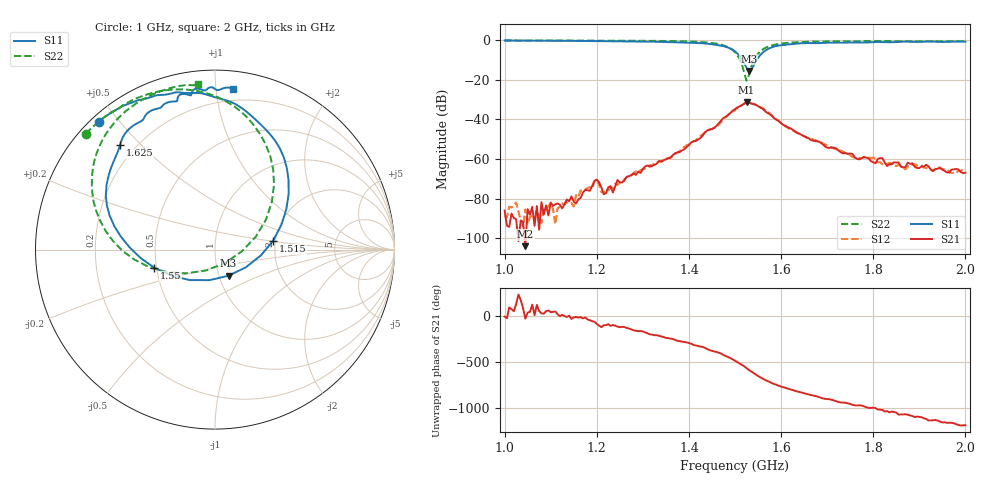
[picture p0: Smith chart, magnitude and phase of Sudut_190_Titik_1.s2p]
# Hz S RI R 50
! CMT, C1220, 16058040, 17.2.0/1
! Date: 14/08/2018 12:56:47
! Data: Format (Calibration Info)
! Freq  S11: Re/Im (F2)  S21: Re/Im (F2)  S12: Re/Im (F2)  S22: Re/Im (F2)
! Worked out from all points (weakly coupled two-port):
!   201 points, 1 GHz to 2 GHz, reference 50 ohm
!   highest |S21| = -31.51 dB at 1.525 GHz (marker M1); lowest = -103.9 dB at 1.045 GHz (marker M2)
!   lowest |S11| = -15.7 dB at 1.53 GHz (marker M3), VSWR 1.39, Z = 55.6 - j16.6 ohm
!   |S11| at or under -10 dB: 1.516 GHz to 1.547 GHz (31.81 MHz wide, 2.08 % of centre)
!   |S22| runs from -20.6 to -0.3 dB; largest |S21 - S12| = 0.0011
!   S11 on the Smith chart (normalised r, x): 1 GHz: 0.02, +0.44; 1.515 GHz: 1.94, +0.21; 1.55 GHz: 0.49, -0.11; 1.625 GHz: 0.14, +0.43; 2 GHz: 0.12, +1.11
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1e9  -0.6471 0.7131  4.97e-05 -9.83e-06  1.28e-05 3.41e-05  -0.7191 0.6457
1.045e9  -0.6054 0.7456  5.34e-06 -3.54e-06  4.33e-05 -3.22e-05  -0.6862 0.6782
1.15e9  -0.4809 0.8117  8.02e-05 -2.74e-05  5.61e-05 -3e-05  -0.5974 0.7518
1.17e9  -0.4581 0.8208  0.000124 -7.35e-05  0.000136 -8.38e-05  -0.5766 0.7656
1.2e9  -0.4136 0.8348  5.48e-06 -0.000305  -6.35e-06 -0.000307  -0.543 0.7776
1.21e9  -0.4001 0.8373  -0.000109 -0.000162  -7.2e-05 -0.000127  -0.5383 0.7814
1.215e9  -0.393 0.839  -3.32e-05 -0.000125  -8.47e-05 -0.000126  -0.5352 0.7859
1.23e9  -0.3681 0.8459  -7.32e-05 -0.000195  -8.63e-05 -0.000172  -0.5197 0.8001
1.235e9  -0.3597 0.8489  -2.79e-05 -0.000141  -7.67e-05 -0.000171  -0.5137 0.8041
1.245e9  -0.3435 0.8552  -0.000142 -0.000259  -0.000127 -0.000183  -0.5013 0.811
1.335e9  -0.1822 0.874  -0.000703 0.00055  -0.000622 0.000604  -0.3601 0.8699
1.45e9  0.1983 0.7492  0.0053 -0.00194  0.00527 -0.00237  0.0472 0.8333
1.5e9  0.4101 0.3086  -0.0107 -0.0145  -0.01 -0.0137  0.3289 0.3597
1.515e9  0.3226 0.0479  -0.0224 -0.00365  -0.0225 -0.00433  0.2274 0.0722
1.525e9  0.1727 -0.0981  -0.0239 0.0116  -0.0243 0.0115  0.0569 -0.0742
1.53e9  0.0757 -0.1455  -0.0181 0.0185  -0.0183 0.0187  -0.0514 -0.1167
1.55e9  -0.3374 -0.1016  0.00763 0.02  0.00686 0.0202  -0.4487 -0.0561
1.58e9  -0.6026 0.2473  0.0121 -0.00163  0.0124 -0.00218  -0.6756 0.2648
1.625e9  -0.5294 0.5819  0.000561 -0.00549  0.00069 -0.00517  -0.6495 0.5616
1.67e9  -0.413 0.7146  -0.00223 -0.0018  -0.00237 -0.00197  -0.5666 0.701
1.835e9  -0.1361 0.8589  0.000587 0.000439  0.000613 0.000514  -0.3148 0.878
2e9  0.0989 0.8944  -9.35e-05 -0.000443  -0.000168 -0.000559  -0.0975 0.9224
